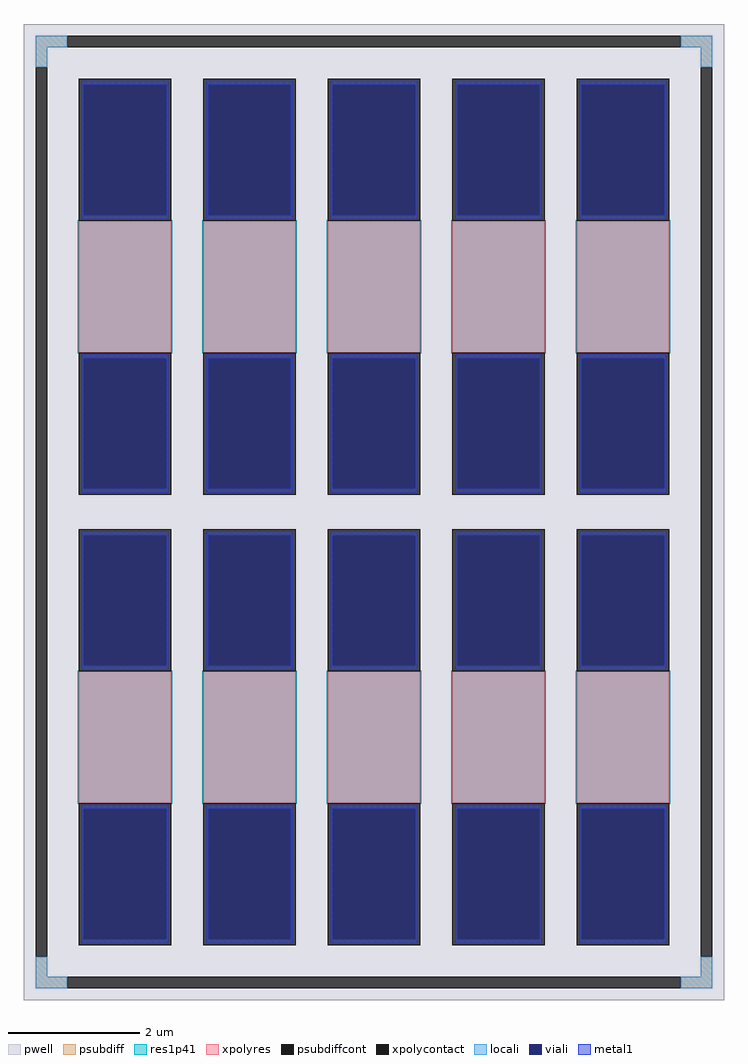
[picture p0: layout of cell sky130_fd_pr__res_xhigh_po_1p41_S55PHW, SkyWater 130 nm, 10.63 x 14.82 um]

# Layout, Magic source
magic
tech sky130A
magscale 1 2
<< pwell >>
rect -1063 -1482 1063 1482
<< psubdiff >>
rect -1027 1412 -931 1446
rect 931 1412 1027 1446
rect -1027 1350 -993 1412
rect 993 1350 1027 1412
rect -1027 -1412 -993 -1350
rect 993 -1412 1027 -1350
rect -1027 -1446 -931 -1412
rect 931 -1446 1027 -1412
<< psubdiffcont >>
rect -931 1412 931 1446
rect -1027 -1350 -993 1350
rect 993 -1350 1027 1350
rect -931 -1446 931 -1412
<< xpolycontact >>
rect -897 884 -615 1316
rect -897 52 -615 484
rect -519 884 -237 1316
rect -519 52 -237 484
rect -141 884 141 1316
rect -141 52 141 484
rect 237 884 519 1316
rect 237 52 519 484
rect 615 884 897 1316
rect 615 52 897 484
rect -897 -484 -615 -52
rect -897 -1316 -615 -884
rect -519 -484 -237 -52
rect -519 -1316 -237 -884
rect -141 -484 141 -52
rect -141 -1316 141 -884
rect 237 -484 519 -52
rect 237 -1316 519 -884
rect 615 -484 897 -52
rect 615 -1316 897 -884
<< xpolyres >>
rect -897 484 -615 884
rect -519 484 -237 884
rect -141 484 141 884
rect 237 484 519 884
rect 615 484 897 884
rect -897 -884 -615 -484
rect -519 -884 -237 -484
rect -141 -884 141 -484
rect 237 -884 519 -484
rect 615 -884 897 -484
<< locali >>
rect -1027 1412 -931 1446
rect 931 1412 1027 1446
rect -1027 1350 -993 1412
rect 993 1350 1027 1412
rect -1027 -1412 -993 -1350
rect 993 -1412 1027 -1350
rect -1027 -1446 -931 -1412
rect 931 -1446 1027 -1412
<< viali >>
rect -881 901 -631 1298
rect -503 901 -253 1298
rect -125 901 125 1298
rect 253 901 503 1298
rect 631 901 881 1298
rect -881 70 -631 467
rect -503 70 -253 467
rect -125 70 125 467
rect 253 70 503 467
rect 631 70 881 467
rect -881 -467 -631 -70
rect -503 -467 -253 -70
rect -125 -467 125 -70
rect 253 -467 503 -70
rect 631 -467 881 -70
rect -881 -1298 -631 -901
rect -503 -1298 -253 -901
rect -125 -1298 125 -901
rect 253 -1298 503 -901
rect 631 -1298 881 -901
<< metal1 >>
rect -887 1298 -625 1310
rect -887 901 -881 1298
rect -631 901 -625 1298
rect -887 889 -625 901
rect -509 1298 -247 1310
rect -509 901 -503 1298
rect -253 901 -247 1298
rect -509 889 -247 901
rect -131 1298 131 1310
rect -131 901 -125 1298
rect 125 901 131 1298
rect -131 889 131 901
rect 247 1298 509 1310
rect 247 901 253 1298
rect 503 901 509 1298
rect 247 889 509 901
rect 625 1298 887 1310
rect 625 901 631 1298
rect 881 901 887 1298
rect 625 889 887 901
rect -887 467 -625 479
rect -887 70 -881 467
rect -631 70 -625 467
rect -887 58 -625 70
rect -509 467 -247 479
rect -509 70 -503 467
rect -253 70 -247 467
rect -509 58 -247 70
rect -131 467 131 479
rect -131 70 -125 467
rect 125 70 131 467
rect -131 58 131 70
rect 247 467 509 479
rect 247 70 253 467
rect 503 70 509 467
rect 247 58 509 70
rect 625 467 887 479
rect 625 70 631 467
rect 881 70 887 467
rect 625 58 887 70
rect -887 -70 -625 -58
rect -887 -467 -881 -70
rect -631 -467 -625 -70
rect -887 -479 -625 -467
rect -509 -70 -247 -58
rect -509 -467 -503 -70
rect -253 -467 -247 -70
rect -509 -479 -247 -467
rect -131 -70 131 -58
rect -131 -467 -125 -70
rect 125 -467 131 -70
rect -131 -479 131 -467
rect 247 -70 509 -58
rect 247 -467 253 -70
rect 503 -467 509 -70
rect 247 -479 509 -467
rect 625 -70 887 -58
rect 625 -467 631 -70
rect 881 -467 887 -70
rect 625 -479 887 -467
rect -887 -901 -625 -889
rect -887 -1298 -881 -901
rect -631 -1298 -625 -901
rect -887 -1310 -625 -1298
rect -509 -901 -247 -889
rect -509 -1298 -503 -901
rect -253 -1298 -247 -901
rect -509 -1310 -247 -1298
rect -131 -901 131 -889
rect -131 -1298 -125 -901
rect 125 -1298 131 -901
rect -131 -1310 131 -1298
rect 247 -901 509 -889
rect 247 -1298 253 -901
rect 503 -1298 509 -901
rect 247 -1310 509 -1298
rect 625 -901 887 -889
rect 625 -1298 631 -901
rect 881 -1298 887 -901
rect 625 -1310 887 -1298
<< res1p41 >>
rect -899 482 -613 886
rect -521 482 -235 886
rect -143 482 143 886
rect 235 482 521 886
rect 613 482 899 886
rect -899 -886 -613 -482
rect -521 -886 -235 -482
rect -143 -886 143 -482
rect 235 -886 521 -482
rect 613 -886 899 -482
<< properties >>
string FIXED_BBOX -1010 -1429 1010 1429
string gencell sky130_fd_pr__res_xhigh_po_1p41
string library sky130
string parameters w 1.41 l 2.0 m 2 nx 5 wmin 1.410 lmin 0.50 rho 2000 val 3.103k dummy 0 dw 0.0 term 188.2 sterm 0.0 caplen 0 wmax 1.410 guard 1 glc 1 grc 1 gtc 1 gbc 1 compatible {sky130_fd_pr__res_xhigh_po_0p35  sky130_fd_pr__res_xhigh_po_0p69 sky130_fd_pr__res_xhigh_po_1p41  sky130_fd_pr__res_xhigh_po_2p85 sky130_fd_pr__res_xhigh_po_5p73} snake 0 full_metal 1 n_guard 0 hv_guard 0 vias 1 viagb 0 viagt 0 viagl 0 viagr 0
<< end >>
